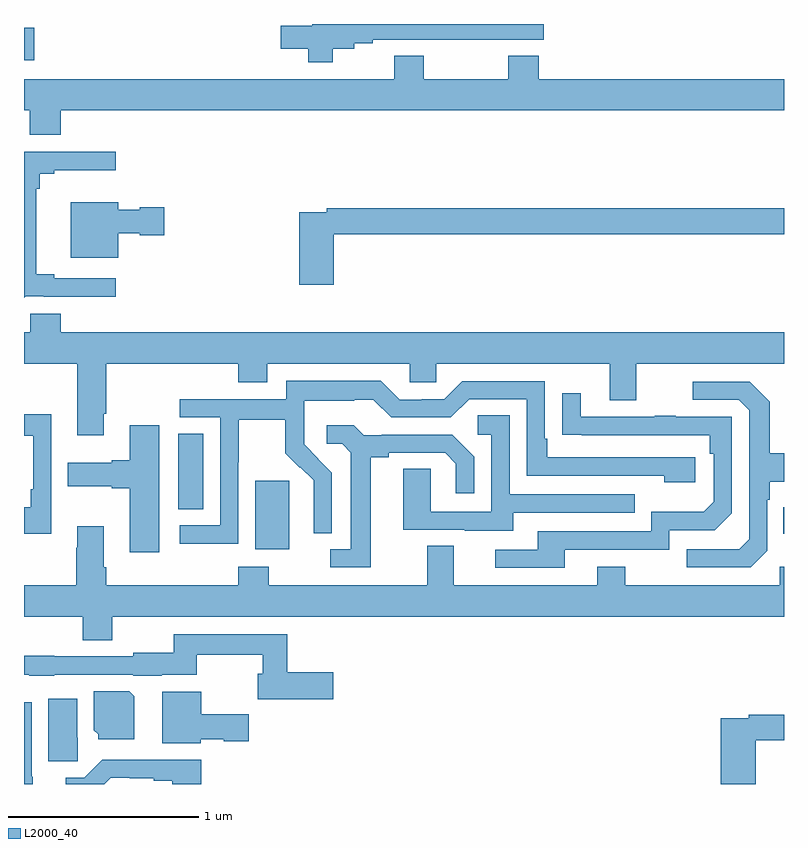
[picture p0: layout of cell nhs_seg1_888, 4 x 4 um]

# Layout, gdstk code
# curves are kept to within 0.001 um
import gdstk
lib = gdstk.Library(unit=1e-6, precision=1e-09)
def R(c, l, rs):  # rectangles x0, y0, x1, y1
    for r in rs: c.add(gdstk.rectangle(r[:2], r[2:], *l))
def P(c, l, *ps):  # polygons
    for p in ps: c.add(gdstk.Polygon(p, *l))
L2000_40 = (2000, 40)

nhs_seg1_888 = lib.new_cell('nhs_seg1_888')
R(nhs_seg1_888, L2000_40, [(160.217,537.434,160.396,537.795), (162.997,537.515,163,537.655), (159.812,537.646,159.943,538.043), (159,540.008,159.055,540.179)])
P(nhs_seg1_888, L2000_40, [(160.624,540.068),(160.738,540.068),(160.738,540.098),(160.836,540.098),(160.836,540.117),(161.253,540.117),(161.253,540.116),(161.485,540.116),(161.485,540.117),(161.735,540.117),(161.735,540.199),(160.518,540.199),(160.518,540.19),(160.35,540.19),(160.35,540.068),(160.495,540.068),(160.495,539.999),(160.624,539.999)],
  [(159.193,539.744),(163,539.744),(163,539.908),(161.708,539.908),(161.708,540.032),(161.548,540.032),(161.548,539.908),(161.103,539.908),(161.103,540.032),(160.948,540.032),(160.948,539.908),(159,539.908),(159,539.744),(159.029,539.744),(159.029,539.616),(159.193,539.616)],
  [(159.009,538.767),(159.103,538.767),(159.103,538.763),(159.484,538.763),(159.484,538.86),(159.16,538.86),(159.16,538.883),(159.065,538.883),(159.065,539.333),(159.083,539.333),(159.083,539.41),(159.16,539.41),(159.16,539.429),(159.484,539.429),(159.484,539.526),(159,539.526),(159,538.758)],
  [(159.496,539.099),(159.609,539.099),(159.609,539.087),(159.739,539.087),(159.739,539.234),(159.609,539.234),(159.609,539.221),(159.496,539.221),(159.496,539.26),(159.245,539.26),(159.245,538.97),(159.496,538.97)],
  [(160.631,539.092),(163,539.092),(163,539.228),(160.594,539.228),(160.594,539.208),(160.448,539.208),(160.448,538.827),(160.631,538.827)],
  [(159.421,538.147),(159.434,538.147),(159.434,538.412),(160.127,538.412),(160.127,538.313),(160.279,538.313),(160.279,538.412),(161.031,538.412),(161.031,538.314),(161.169,538.314),(161.169,538.412),(162.083,538.412),(162.083,538.218),(162.223,538.218),(162.223,538.412),(163,538.412),(163,538.576),(159.194,538.576),(159.194,538.674),(159.034,538.674),(159.034,538.576),(159,538.576),(159,538.412),(159.281,538.412),(159.281,538.035),(159.421,538.035)],
  [(160.128,537.892),(160.131,537.892),(160.131,538.116),(160.375,538.116),(160.375,537.941),(160.452,537.864),(160.455,537.867),(160.526,537.797),(160.526,537.674),(160.524,537.674),(160.524,537.52),(160.62,537.52),(160.62,537.838),(160.474,537.986),(160.474,538.083),(160.476,538.083),(160.476,538.217),(160.739,538.217),(160.739,538.221),(160.839,538.221),(160.932,538.128),(161.247,538.128),(161.343,538.224),(161.646,538.224),(161.646,537.822),(162.371,537.822),(162.371,537.788),(162.532,537.788),(162.532,537.918),(161.755,537.918),(161.755,538.015),(161.742,538.015),(161.742,538.32),(161.307,538.32),(161.211,538.224),(161.093,538.224),(161.093,538.221),(160.977,538.221),(160.877,538.321),(160.38,538.321),(160.38,538.224),(159.819,538.224),(159.819,538.128),(160.032,538.128),(160.032,537.561),(159.819,537.561),(159.819,537.463),(160.128,537.463)],
  [(162.912,537.426),(162.912,537.695),(162.925,537.695),(162.925,537.791),(163,537.791),(163,537.939),(162.925,537.939),(162.925,538.211),(162.819,538.317),(162.519,538.317),(162.519,538.221),(162.762,538.221),(162.816,538.167),(162.816,537.486),(162.765,537.435),(162.489,537.435),(162.489,537.339),(162.825,537.339)],
  [(161.845,537.432),(162.396,537.432),(162.396,537.534),(162.636,537.534),(162.726,537.624),(162.726,538.131),(162.431,538.131),(162.431,538.136),(162.319,538.136),(162.319,538.131),(161.929,538.131),(161.929,538.255),(161.833,538.255),(161.833,538.036),(162.61,538.035),(162.61,537.938),(162.63,537.938),(162.63,537.684),(162.577,537.631),(162.3,537.631),(162.3,537.528),(161.705,537.528),(161.705,537.432),(161.481,537.432),(161.481,537.336),(161.845,537.336)],
  [(159.144,538.144),(159,538.144),(159,538.031),(159.048,538.031),(159.048,537.751),(159.036,537.751),(159.036,537.655),(159,537.655),(159,537.515),(159.144,537.515)],
  [(161.575,537.627),(162.215,537.627),(162.215,537.723),(161.556,537.723),(161.556,538.139),(161.388,538.139),(161.388,538.038),(161.46,538.038),(161.46,537.633),(161.142,537.633),(161.142,537.857),(160.997,537.857),(160.997,537.537),(161.321,537.537),(161.321,537.533),(161.575,537.533)],
  [(159.712,538.087),(159.557,538.087),(159.557,537.902),(159.461,537.902),(159.461,537.889),(159.231,537.889),(159.231,537.767),(159.461,537.767),(159.461,537.755),(159.557,537.755),(159.557,537.42),(159.712,537.42)],
  [(160.825,537.92),(160.921,537.92),(160.921,537.942),(161.216,537.942),(161.273,537.885),(161.273,537.729),(161.37,537.729),(161.37,537.922),(161.254,538.038),(160.882,538.038),(160.882,538.035),(160.788,538.035),(160.736,538.087),(160.593,538.087),(160.593,537.99),(160.674,537.99),(160.721,537.943),(160.721,537.435),(160.611,537.435),(160.611,537.339),(160.825,537.339)],
  [(159.465,537.08),(163,537.08),(163,537.343),(162.978,537.343),(162.978,537.244),(162.165,537.244),(162.165,537.343),(162.017,537.343),(162.017,537.244),(161.263,537.244),(161.263,537.452),(161.123,537.452),(161.123,537.244),(160.287,537.244),(160.287,537.343),(160.127,537.343),(160.127,537.244),(159.434,537.244),(159.434,537.34),(159.421,537.34),(159.421,537.556),(159.281,537.556),(159.281,537.443),(159.274,537.443),(159.274,537.244),(159,537.244),(159,537.08),(159.31,537.08),(159.31,536.956),(159.465,536.956)],
  [(160.627,536.787),(160.385,536.787),(160.385,536.988),(159.789,536.988),(159.789,536.89),(159.576,536.89),(159.576,536.871),(159.159,536.871),(159.159,536.873),(159,536.873),(159,536.774),(159.027,536.774),(159.027,536.768),(159.159,536.768),(159.159,536.775),(159.576,536.775),(159.576,536.768),(159.726,536.768),(159.726,536.774),(159.91,536.774),(159.91,536.88),(160.257,536.88),(160.257,536.779),(160.231,536.779),(160.231,536.645),(160.627,536.645)],
  [(159.58,536.66),(159.554,536.686),(159.368,536.686),(159.368,536.482),(159.39,536.46),(159.39,536.435),(159.58,536.435)],
  [(159.93,536.435),(160.05,536.435),(160.05,536.423),(160.183,536.423),(160.183,536.565),(159.934,536.565),(159.934,536.684),(159.728,536.684),(159.728,536.414),(159.93,536.414)],
  [(159.284,536.442),(159.28,536.442),(159.28,536.647),(159.128,536.647),(159.128,536.319),(159.284,536.319)],
  [(159.046,536.238),(159.04,536.238),(159.04,536.629),(159,536.629),(159,536.199),(159.046,536.199)],
  [(162.851,536.428),(163,536.428),(163,536.564),(162.814,536.564),(162.814,536.544),(162.668,536.544),(162.668,536.199),(162.851,536.199)],
  [(159.456,536.232),(159.556,536.232),(159.556,536.229),(159.683,536.229),(159.683,536.217),(159.779,536.217),(159.779,536.199),(159.932,536.199),(159.932,536.326),(159.412,536.326),(159.318,536.232),(159.219,536.232),(159.219,536.199),(159.423,536.199)])

lib.write_gds('nhs_seg1_888.gds')
